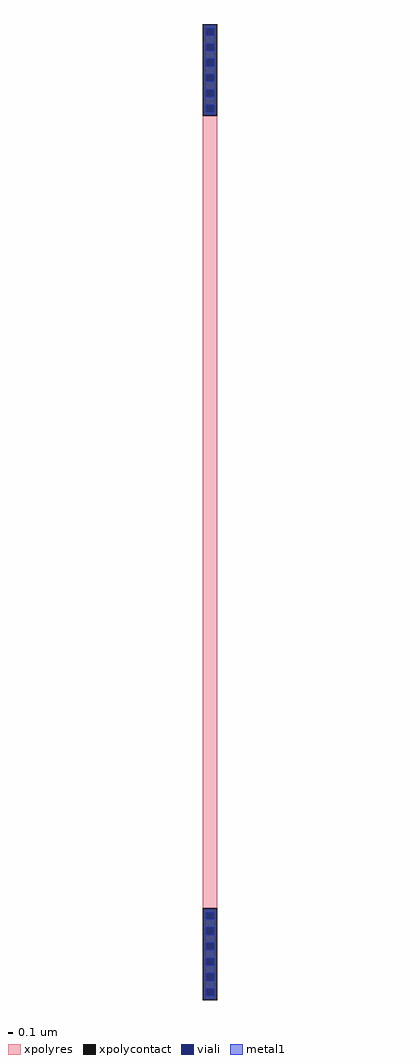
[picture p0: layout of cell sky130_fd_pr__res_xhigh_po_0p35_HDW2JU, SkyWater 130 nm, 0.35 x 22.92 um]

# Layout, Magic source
magic
tech sky130A
magscale 1 2
<< xpolycontact >>
rect -35 1860 35 2292
rect -35 -2292 35 -1860
<< xpolyres >>
rect -35 -1860 35 1860
<< viali >>
rect -17 2238 17 2272
rect -17 2166 17 2200
rect -17 2094 17 2128
rect -17 2022 17 2056
rect -17 1950 17 1984
rect -17 1878 17 1912
rect -17 -1913 17 -1879
rect -17 -1985 17 -1951
rect -17 -2057 17 -2023
rect -17 -2129 17 -2095
rect -17 -2201 17 -2167
rect -17 -2273 17 -2239
<< metal1 >>
rect -25 2272 25 2286
rect -25 2238 -17 2272
rect 17 2238 25 2272
rect -25 2200 25 2238
rect -25 2166 -17 2200
rect 17 2166 25 2200
rect -25 2128 25 2166
rect -25 2094 -17 2128
rect 17 2094 25 2128
rect -25 2056 25 2094
rect -25 2022 -17 2056
rect 17 2022 25 2056
rect -25 1984 25 2022
rect -25 1950 -17 1984
rect 17 1950 25 1984
rect -25 1912 25 1950
rect -25 1878 -17 1912
rect 17 1878 25 1912
rect -25 1865 25 1878
rect -25 -1879 25 -1865
rect -25 -1913 -17 -1879
rect 17 -1913 25 -1879
rect -25 -1951 25 -1913
rect -25 -1985 -17 -1951
rect 17 -1985 25 -1951
rect -25 -2023 25 -1985
rect -25 -2057 -17 -2023
rect 17 -2057 25 -2023
rect -25 -2095 25 -2057
rect -25 -2129 -17 -2095
rect 17 -2129 25 -2095
rect -25 -2167 25 -2129
rect -25 -2201 -17 -2167
rect 17 -2201 25 -2167
rect -25 -2239 25 -2201
rect -25 -2273 -17 -2239
rect 17 -2273 25 -2239
rect -25 -2286 25 -2273
<< end >>
